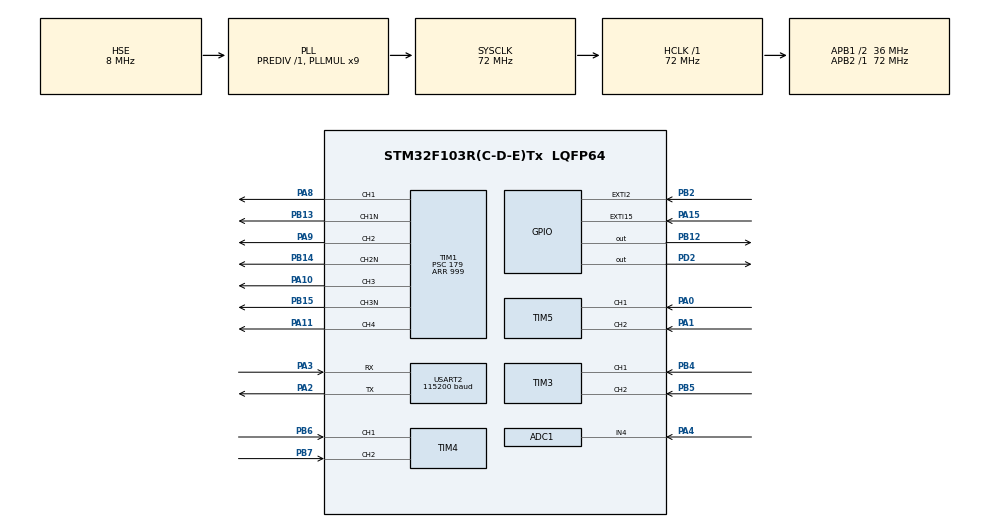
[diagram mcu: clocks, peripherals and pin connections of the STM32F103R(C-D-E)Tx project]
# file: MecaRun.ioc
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ADC1.Channel-0\#ChannelRegularConversion=ADC_CHANNEL_4
ADC1.ContinuousConvMode=DISABLE
ADC1.DataAlign=ADC_DATAALIGN_RIGHT
ADC1.DiscontinuousConvMode=DISABLE
ADC1.EnableAnalogWatchDog=false
ADC1.EnableRegularConversion=ENABLE
ADC1.ExternalTrigConv=ADC_SOFTWARE_START
ADC1.InjNumberOfConversion=0
ADC1.NbrOfConversion=1
ADC1.NbrOfConversionFlag=1
ADC1.Rank-0\#ChannelRegularConversion=1
ADC1.SamplingTime-0\#ChannelRegularConversion=ADC_SAMPLETIME_1CYCLE_5
ADC1.ScanConvMode=ADC_SCAN_DISABLE
ADC1.master=1
Mcu.Family=STM32F1
Mcu.Name=STM32F103R(C-D-E)Tx
Mcu.Package=LQFP64
NVIC.EXTI15_10_IRQn=true\:0\:0\:false\:true\:true\:2\:true
NVIC.EXTI2_IRQn=true\:0\:0\:false\:true\:true\:3\:true
NVIC.PriorityGroup=NVIC_PRIORITYGROUP_4
NVIC.USART2_IRQn=true\:1\:0\:true\:true\:true\:1\:true
PA0-WKUP.Signal=S_TIM5_CH1
PA1.Signal=S_TIM5_CH2
PA10.Signal=S_TIM1_CH3
PA11.Signal=S_TIM1_CH4
PA13.Mode=Serial_Wire
PA13.Signal=SYS_JTMS-SWDIO
PA14.Mode=Serial_Wire
PA14.Signal=SYS_JTCK-SWCLK
PA15.GPIO_ModeDefaultEXTI=GPIO_MODE_IT_RISING_FALLING
PA15.Signal=GPXTI15
PA2.Mode=Asynchronous
PA2.Signal=USART2_TX
PA3.Mode=Asynchronous
PA3.Signal=USART2_RX
PA4.Signal=ADCx_IN4
PA8.Signal=S_TIM1_CH1
PA9.Signal=S_TIM1_CH2
PB12.Signal=GPIO_Output
PB13.Mode=PWM Generation1 CH1 CH1N
PB13.Signal=TIM1_CH1N
PB14.Mode=PWM Generation2 CH2 CH2N
PB14.Signal=TIM1_CH2N
PB15.Mode=PWM Generation3 CH3 CH3N
PB15.Signal=TIM1_CH3N
PB2.GPIO_ModeDefaultEXTI=GPIO_MODE_IT_RISING_FALLING
PB2.Signal=GPXTI2
PB4.Signal=S_TIM3_CH1
PB5.Signal=S_TIM3_CH2
PB6.Signal=S_TIM4_CH1
PB7.Signal=S_TIM4_CH2
PC14-OSC32_IN.Mode=LSE-External-Oscillator
PC14-OSC32_IN.Signal=RCC_OSC32_IN
PC15-OSC32_OUT.Mode=LSE-External-Oscillator
PC15-OSC32_OUT.Signal=RCC_OSC32_OUT
PD0-OSC_IN.Mode=HSE-External-Oscillator
PD0-OSC_IN.Signal=RCC_OSC_IN
PD1-OSC_OUT.Mode=HSE-External-Oscillator
PD1-OSC_OUT.Signal=RCC_OSC_OUT
PD2.Signal=GPIO_Output
ProjectManager.HeapSize=0x200
ProjectManager.StackSize=0x400
ProjectManager.TargetToolchain=MDK-ARM V5
RCC.ADCPresc=RCC_ADCPCLK2_DIV6
RCC.AHBFreq_Value=72000000
RCC.APB1CLKDivider=RCC_HCLK_DIV2
RCC.APB1Freq_Value=36000000
RCC.APB1TimFreq_Value=72000000
RCC.APB2Freq_Value=72000000
RCC.APB2TimFreq_Value=72000000
RCC.HCLKFreq_Value=72000000
RCC.PLLMUL=RCC_PLL_MUL9
RCC.PLLSourceVirtual=RCC_PLLSOURCE_HSE
RCC.SYSCLKFreq_VALUE=72000000
RCC.SYSCLKSource=RCC_SYSCLKSOURCE_PLLCLK
RCC.USBFreq_Value=72000000
SH.ADCx_IN4.0=ADC1_IN4,IN4
SH.S_TIM1_CH1.0=TIM1_CH1,PWM Generation1 CH1 CH1N
SH.S_TIM1_CH2.0=TIM1_CH2,PWM Generation2 CH2 CH2N
SH.S_TIM1_CH3.0=TIM1_CH3,PWM Generation3 CH3 CH3N
SH.S_TIM1_CH4.0=TIM1_CH4,PWM Generation4 CH4
SH.S_TIM3_CH1.0=TIM3_CH1,Encoder_Interface
SH.S_TIM3_CH2.0=TIM3_CH2,Encoder_Interface
SH.S_TIM4_CH1.0=TIM4_CH1,Encoder_Interface
SH.S_TIM4_CH2.0=TIM4_CH2,Encoder_Interface
SH.S_TIM5_CH1.0=TIM5_CH1,Encoder_Interface
SH.S_TIM5_CH2.0=TIM5_CH2,Encoder_Interface
TIM1.Channel-PWM\ Generation1\ CH1\ CH1N=TIM_CHANNEL_1
TIM1.Channel-PWM\ Generation2\ CH2\ CH2N=TIM_CHANNEL_2
TIM1.Channel-PWM\ Generation3\ CH3\ CH3N=TIM_CHANNEL_3
TIM1.Channel-PWM\ Generation4\ CH4=TIM_CHANNEL_4
TIM1.OCIdleState_1=TIM_OCIDLESTATE_SET
TIM1.OCIdleState_2=TIM_OCIDLESTATE_SET
TIM1.OCIdleState_3=TIM_OCIDLESTATE_SET
TIM1.OCIdleState_4=TIM_OCIDLESTATE_SET
TIM1.OCNIdleState_1=TIM_OCNIDLESTATE_SET
TIM1.OCNIdleState_2=TIM_OCNIDLESTATE_SET
TIM1.OCNIdleState_3=TIM_OCNIDLESTATE_SET
TIM1.OCNPolarity_1=TIM_OCNPOLARITY_LOW
TIM1.OCNPolarity_2=TIM_OCNPOLARITY_LOW
TIM1.OCNPolarity_3=TIM_OCNPOLARITY_LOW
TIM1.Period=999
TIM1.Prescaler=179
USART2.BaudRate=115200
USART2.VirtualMode=VM_ASYNC
board=custom

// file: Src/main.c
/**
  ******************************************************************************
  * @file           : main.c
  * @brief          : Main program body
  ******************************************************************************
  ** This notice applies to any and all portions of this file
  * that are not between comment pairs USER CODE BEGIN and
  * USER CODE END. Other portions of this file, whether
  * inserted by the user or by software development tools
  * are owned by their respective copyright owners.
  *
  * COPYRIGHT(c) 2019 STMicroelectronics
  *
  * Redistribution and use in source and binary forms, with or without modification,
  * are permitted provided that the following conditions are met:
  *   1. Redistributions of source code must retain the above copyright notice,
  *      this list of conditions and the following disclaimer.
  *   2. Redistributions in binary form must reproduce the above copyright notice,
  *      this list of conditions and the following disclaimer in the documentation
  *      and/or other materials provided with the distribution.
  *   3. Neither the name of STMicroelectronics nor the names of its contributors
  *      may be used to endorse or promote products derived from this software
  *      without specific prior written permission.
  *
  * THIS SOFTWARE IS PROVIDED BY THE COPYRIGHT HOLDERS AND CONTRIBUTORS "AS IS"
  * AND ANY EXPRESS OR IMPLIED WARRANTIES, INCLUDING, BUT NOT LIMITED TO, THE
  * IMPLIED WARRANTIES OF MERCHANTABILITY AND FITNESS FOR A PARTICULAR PURPOSE ARE
  * DISCLAIMED. IN NO EVENT SHALL THE COPYRIGHT HOLDER OR CONTRIBUTORS BE LIABLE
  * FOR ANY DIRECT, INDIRECT, INCIDENTAL, SPECIAL, EXEMPLARY, OR CONSEQUENTIAL
  * DAMAGES (INCLUDING, BUT NOT LIMITED TO, PROCUREMENT OF SUBSTITUTE GOODS OR
  * SERVICES; LOSS OF USE, DATA, OR PROFITS; OR BUSINESS INTERRUPTION) HOWEVER
  * CAUSED AND ON ANY THEORY OF LIABILITY, WHETHER IN CONTRACT, STRICT LIABILITY,
  * OR TORT (INCLUDING NEGLIGENCE OR OTHERWISE) ARISING IN ANY WAY OUT OF THE USE
  * OF THIS SOFTWARE, EVEN IF ADVISED OF THE POSSIBILITY OF SUCH DAMAGE.
  *
  ******************************************************************************
  */
#include "main.h"
#include "stm32f1xx_hal.h"

/* USER CODE BEGIN Includes */

#include "Scheduler.h"
#include "motor.h"

/* USER CODE END Includes */

ADC_HandleTypeDef hadc1;

TIM_HandleTypeDef htim3;
TIM_HandleTypeDef htim4;
TIM_HandleTypeDef htim5;

UART_HandleTypeDef huart2;

/* USER CODE BEGIN PV */
/* Private variables ---------------------------------------------------------*/

uint8_t data_receive = 0;

/* USER CODE END PV */

void SystemClock_Config(void);
static void MX_GPIO_Init(void);
static void MX_TIM4_Init(void);
static void MX_TIM3_Init(void);
static void MX_TIM5_Init(void);
static void MX_USART2_UART_Init(void);
static void MX_TIM1_Init(void);
static void MX_ADC1_Init(void);
static void MX_NVIC_Init(void);

/* USER CODE BEGIN PFP */
/* Private function prototypes -----------------------------------------------*/

/* USER CODE END PFP */

/* USER CODE BEGIN 0 */
#ifdef __GNUC__
	#define PUTCHAR_PROTOTYPE int __io_putchar(int ch)
#else
	#define PUTCHAR_PROTOTYPE int fputc(int ch, FILE *f)
#endif /* __GNUC__ */

	PUTCHAR_PROTOTYPE
	{
		HAL_UART_Transmit(&huart2, (uint8_t *)&ch, 1, 0xFFFF);
		return ch;
	}
/* USER CODE END 0 */

int main(void)
{

  /* MCU Configuration----------------------------------------------------------*/

  /* Reset of all peripherals, Initializes the Flash interface and the Systick. */
  HAL_Init();

  /* Configure the system clock */
  SystemClock_Config();

  /* Initialize all configured peripherals */
  MX_GPIO_Init();
  MX_TIM4_Init();
  MX_TIM3_Init();
  MX_TIM5_Init();
  MX_USART2_UART_Init();
  MX_TIM1_Init();
  MX_ADC1_Init();

  /* Initialize interrupts */
  MX_NVIC_Init();
  /* USER CODE BEGIN 2 */

	LL_TIM_EnableAllOutputs(DRVTIM);
	LL_TIM_EnableCounter(DRVTIM);
	LL_TIM_CC_EnableChannel(DRVTIM, LL_TIM_CHANNEL_CH1);
	LL_TIM_CC_EnableChannel(DRVTIM, LL_TIM_CHANNEL_CH2);
	LL_TIM_CC_EnableChannel(DRVTIM, LL_TIM_CHANNEL_CH3);
	LL_TIM_CC_EnableChannel(DRVTIM, LL_TIM_CHANNEL_CH4);
	LL_TIM_CC_EnableChannel(DRVTIM, LL_TIM_CHANNEL_CH1N);
	LL_TIM_CC_EnableChannel(DRVTIM, LL_TIM_CHANNEL_CH2N);
	LL_TIM_CC_EnableChannel(DRVTIM, LL_TIM_CHANNEL_CH3N);

	LL_TIM_OC_SetPolarity(DRVTIM, LL_TIM_CHANNEL_CH1,LL_TIM_OCPOLARITY_HIGH);
	LL_TIM_OC_SetPolarity(DRVTIM, LL_TIM_CHANNEL_CH2,LL_TIM_OCPOLARITY_HIGH);
	LL_TIM_OC_SetPolarity(DRVTIM, LL_TIM_CHANNEL_CH3,LL_TIM_OCPOLARITY_HIGH);
	LL_TIM_OC_SetPolarity(DRVTIM, LL_TIM_CHANNEL_CH4,LL_TIM_OCPOLARITY_HIGH);
	LL_TIM_OC_SetPolarity(DRVTIM, LL_TIM_CHANNEL_CH1N,LL_TIM_OCPOLARITY_LOW);
	LL_TIM_OC_SetPolarity(DRVTIM, LL_TIM_CHANNEL_CH2N,LL_TIM_OCPOLARITY_LOW);
	LL_TIM_OC_SetPolarity(DRVTIM, LL_TIM_CHANNEL_CH3N,LL_TIM_OCPOLARITY_LOW);

	LL_GPIO_ResetOutputPin(MT_P_BANK, MT_1P_PIN);
	LL_GPIO_ResetOutputPin(MT_P_BANK, MT_2P_PIN);
	LL_GPIO_ResetOutputPin(MT_P_BANK, MT_3P_PIN);
	LL_GPIO_ResetOutputPin(MT_P_BANK, MT_4P_PIN);

	LL_GPIO_ResetOutputPin(MT_N_BANK, MT_1N_PIN);
	LL_GPIO_ResetOutputPin(MT_N_BANK, MT_2N_PIN);
	LL_GPIO_ResetOutputPin(MT_N_BANK, MT_3N_PIN);
	LL_GPIO_ResetOutputPin(MT_N_BANK, MT_4N_PIN);

	LL_GPIO_SetPinMode(MT_P_BANK, MT_1P_PIN, LL_GPIO_MODE_OUTPUT);
	LL_GPIO_SetPinMode(MT_P_BANK, MT_2P_PIN, LL_GPIO_MODE_OUTPUT);
	LL_GPIO_SetPinMode(MT_P_BANK, MT_3P_PIN, LL_GPIO_MODE_OUTPUT);
	LL_GPIO_SetPinMode(MT_P_BANK, MT_4P_PIN, LL_GPIO_MODE_ALTERNATE);

	LL_GPIO_SetPinMode(MT_N_BANK, MT_1N_PIN, LL_GPIO_MODE_OUTPUT);
	LL_GPIO_SetPinMode(MT_N_BANK, MT_2N_PIN, LL_GPIO_MODE_OUTPUT);
	LL_GPIO_SetPinMode(MT_N_BANK, MT_3N_PIN, LL_GPIO_MODE_OUTPUT);
	LL_GPIO_SetPinMode(MT_N_BANK, MT_4N_PIN, LL_GPIO_MODE_OUTPUT);

	HAL_TIM_Base_Start(&htim3);
	HAL_TIM_Base_Start(&htim4);
	HAL_TIM_Base_Start(&htim5);
	HAL_TIM_Encoder_Start(&htim3, TIM_CHANNEL_ALL);
	HAL_TIM_Encoder_Start(&htim4, TIM_CHANNEL_ALL);
	HAL_TIM_Encoder_Start(&htim5, TIM_CHANNEL_ALL);

	PID_Init();

//	float speed[4] = {30, 30, 30, 30};
//	Set_Speed(speed);

	HAL_UART_Receive_IT(&huart2,&data_receive,1);

//	control.x = 0.5;
  /* USER CODE END 2 */

  /* Infinite loop */
  /* USER CODE BEGIN WHILE */
  while (1)
  {

		Main_Task();
  /* USER CODE END WHILE */

  }

}

void SystemClock_Config(void)
{

  RCC_OscInitTypeDef RCC_OscInitStruct;
  RCC_ClkInitTypeDef RCC_ClkInitStruct;
  RCC_PeriphCLKInitTypeDef PeriphClkInit;

    /**Initializes the CPU, AHB and APB busses clocks
    */
  RCC_OscInitStruct.OscillatorType = RCC_OSCILLATORTYPE_HSE;
  RCC_OscInitStruct.HSEState = RCC_HSE_ON;
  RCC_OscInitStruct.HSEPredivValue = RCC_HSE_PREDIV_DIV1;
  RCC_OscInitStruct.HSIState = RCC_HSI_ON;
  RCC_OscInitStruct.PLL.PLLState = RCC_PLL_ON;
  RCC_OscInitStruct.PLL.PLLSource = RCC_PLLSOURCE_HSE;
  RCC_OscInitStruct.PLL.PLLMUL = RCC_PLL_MUL9;
  if (HAL_RCC_OscConfig(&RCC_OscInitStruct) != HAL_OK)
  {
    _Error_Handler(__FILE__, __LINE__);
  }

    /**Initializes the CPU, AHB and APB busses clocks
    */
  RCC_ClkInitStruct.ClockType = RCC_CLOCKTYPE_HCLK|RCC_CLOCKTYPE_SYSCLK
                              |RCC_CLOCKTYPE_PCLK1|RCC_CLOCKTYPE_PCLK2;
  RCC_ClkInitStruct.SYSCLKSource = RCC_SYSCLKSOURCE_PLLCLK;
  RCC_ClkInitStruct.AHBCLKDivider = RCC_SYSCLK_DIV1;
  RCC_ClkInitStruct.APB1CLKDivider = RCC_HCLK_DIV2;
  RCC_ClkInitStruct.APB2CLKDivider = RCC_HCLK_DIV1;

  if (HAL_RCC_ClockConfig(&RCC_ClkInitStruct, FLASH_LATENCY_2) != HAL_OK)
  {
    _Error_Handler(__FILE__, __LINE__);
  }

  PeriphClkInit.PeriphClockSelection = RCC_PERIPHCLK_ADC;
  PeriphClkInit.AdcClockSelection = RCC_ADCPCLK2_DIV6;
  if (HAL_RCCEx_PeriphCLKConfig(&PeriphClkInit) != HAL_OK)
  {
    _Error_Handler(__FILE__, __LINE__);
  }

    /**Configure the Systick interrupt time
    */
  HAL_SYSTICK_Config(HAL_RCC_GetHCLKFreq()/1000);

    /**Configure the Systick
    */
  HAL_SYSTICK_CLKSourceConfig(SYSTICK_CLKSOURCE_HCLK);

  /* SysTick_IRQn interrupt configuration */
  HAL_NVIC_SetPriority(SysTick_IRQn, 0, 0);
}

/**
  * @brief NVIC Configuration.
  * @retval None
  */
static void MX_NVIC_Init(void)
{
  /* USART2_IRQn interrupt configuration */
  HAL_NVIC_SetPriority(USART2_IRQn, 1, 0);
  HAL_NVIC_EnableIRQ(USART2_IRQn);
  /* EXTI15_10_IRQn interrupt configuration */
  HAL_NVIC_SetPriority(EXTI15_10_IRQn, 0, 0);
  HAL_NVIC_EnableIRQ(EXTI15_10_IRQn);
  /* EXTI2_IRQn interrupt configuration */
  HAL_NVIC_SetPriority(EXTI2_IRQn, 0, 0);
  HAL_NVIC_EnableIRQ(EXTI2_IRQn);
}

/* ADC1 init function */
static void MX_ADC1_Init(void)
{

  ADC_ChannelConfTypeDef sConfig;

    /**Common config
    */
  hadc1.Instance = ADC1;
  hadc1.Init.ScanConvMode = ADC_SCAN_DISABLE;
  hadc1.Init.ContinuousConvMode = DISABLE;
  hadc1.Init.DiscontinuousConvMode = DISABLE;
  hadc1.Init.ExternalTrigConv = ADC_SOFTWARE_START;
  hadc1.Init.DataAlign = ADC_DATAALIGN_RIGHT;
  hadc1.Init.NbrOfConversion = 1;
  if (HAL_ADC_Init(&hadc1) != HAL_OK)
  {
    _Error_Handler(__FILE__, __LINE__);
  }

    /**Configure Regular Channel
    */
  sConfig.Channel = ADC_CHANNEL_4;
  sConfig.Rank = ADC_REGULAR_RANK_1;
  sConfig.SamplingTime = ADC_SAMPLETIME_1CYCLE_5;
  if (HAL_ADC_ConfigChannel(&hadc1, &sConfig) != HAL_OK)
  {
    _Error_Handler(__FILE__, __LINE__);
  }

}

/* TIM1 init function */
static void MX_TIM1_Init(void)
{

  LL_TIM_InitTypeDef TIM_InitStruct;
  LL_TIM_OC_InitTypeDef TIM_OC_InitStruct;
  LL_TIM_BDTR_InitTypeDef TIM_BDTRInitStruct;

  LL_GPIO_InitTypeDef GPIO_InitStruct;

  /* Peripheral clock enable */
  LL_APB2_GRP1_EnableClock(LL_APB2_GRP1_PERIPH_TIM1);

  TIM_InitStruct.Prescaler = 179;
  TIM_InitStruct.CounterMode = LL_TIM_COUNTERMODE_UP;
  TIM_InitStruct.Autoreload = 999;
  TIM_InitStruct.ClockDivision = LL_TIM_CLOCKDIVISION_DIV1;
  TIM_InitStruct.RepetitionCounter = 0;
  LL_TIM_Init(TIM1, &TIM_InitStruct);

  LL_TIM_DisableARRPreload(TIM1);

  LL_TIM_OC_EnablePreload(TIM1, LL_TIM_CHANNEL_CH1);

  TIM_OC_InitStruct.OCMode = LL_TIM_OCMODE_PWM1;
  TIM_OC_InitStruct.OCState = LL_TIM_OCSTATE_DISABLE;
  TIM_OC_InitStruct.OCNState = LL_TIM_OCSTATE_DISABLE;
  TIM_OC_InitStruct.CompareValue = 0;
  TIM_OC_InitStruct.OCPolarity = LL_TIM_OCPOLARITY_HIGH;
  TIM_OC_InitStruct.OCNPolarity = LL_TIM_OCPOLARITY_LOW;
  TIM_OC_InitStruct.OCIdleState = LL_TIM_OCIDLESTATE_HIGH;
  TIM_OC_InitStruct.OCNIdleState = LL_TIM_OCIDLESTATE_HIGH;
  LL_TIM_OC_Init(TIM1, LL_TIM_CHANNEL_CH1, &TIM_OC_InitStruct);

  LL_TIM_OC_DisableFast(TIM1, LL_TIM_CHANNEL_CH1);

  LL_TIM_OC_EnablePreload(TIM1, LL_TIM_CHANNEL_CH2);

  TIM_OC_InitStruct.OCState = LL_TIM_OCSTATE_DISABLE;
  TIM_OC_InitStruct.OCNState = LL_TIM_OCSTATE_DISABLE;
  LL_TIM_OC_Init(TIM1, LL_TIM_CHANNEL_CH2, &TIM_OC_InitStruct);

  LL_TIM_OC_DisableFast(TIM1, LL_TIM_CHANNEL_CH2);

  LL_TIM_OC_EnablePreload(TIM1, LL_TIM_CHANNEL_CH3);

  TIM_OC_InitStruct.OCState = LL_TIM_OCSTATE_DISABLE;
  TIM_OC_InitStruct.OCNState = LL_TIM_OCSTATE_DISABLE;
  LL_TIM_OC_Init(TIM1, LL_TIM_CHANNEL_CH3, &TIM_OC_InitStruct);

  LL_TIM_OC_DisableFast(TIM1, LL_TIM_CHANNEL_CH3);

  LL_TIM_OC_EnablePreload(TIM1, LL_TIM_CHANNEL_CH4);

  TIM_OC_InitStruct.OCState = LL_TIM_OCSTATE_DISABLE;
  TIM_OC_InitStruct.OCNState = LL_TIM_OCSTATE_DISABLE;
  TIM_OC_InitStruct.OCNIdleState = LL_TIM_OCIDLESTATE_LOW;
  LL_TIM_OC_Init(TIM1, LL_TIM_CHANNEL_CH4, &TIM_OC_InitStruct);

  LL_TIM_OC_DisableFast(TIM1, LL_TIM_CHANNEL_CH4);

  LL_TIM_SetTriggerOutput(TIM1, LL_TIM_TRGO_RESET);

  LL_TIM_DisableMasterSlaveMode(TIM1);

  TIM_BDTRInitStruct.OSSRState = LL_TIM_OSSR_DISABLE;
  TIM_BDTRInitStruct.OSSIState = LL_TIM_OSSI_DISABLE;
  TIM_BDTRInitStruct.LockLevel = LL_TIM_LOCKLEVEL_OFF;
  TIM_BDTRInitStruct.DeadTime = 0;
  TIM_BDTRInitStruct.BreakState = LL_TIM_BREAK_DISABLE;
  TIM_BDTRInitStruct.BreakPolarity = LL_TIM_BREAK_POLARITY_HIGH;
  TIM_BDTRInitStruct.AutomaticOutput = LL_TIM_AUTOMATICOUTPUT_DISABLE;
  LL_TIM_BDTR_Init(TIM1, &TIM_BDTRInitStruct);

  /**TIM1 GPIO Configuration
  PB13   ------> TIM1_CH1N
  PB14   ------> TIM1_CH2N
  PB15   ------> TIM1_CH3N
  PA8   ------> TIM1_CH1
  PA9   ------> TIM1_CH2
  PA10   ------> TIM1_CH3
  PA11   ------> TIM1_CH4
  */
  GPIO_InitStruct.Pin = LL_GPIO_PIN_13|LL_GPIO_PIN_14|LL_GPIO_PIN_15;
  GPIO_InitStruct.Mode = LL_GPIO_MODE_ALTERNATE;
  GPIO_InitStruct.Speed = LL_GPIO_SPEED_FREQ_LOW;
  GPIO_InitStruct.OutputType = LL_GPIO_OUTPUT_PUSHPULL;
  LL_GPIO_Init(GPIOB, &GPIO_InitStruct);

  GPIO_InitStruct.Pin = LL_GPIO_PIN_8|LL_GPIO_PIN_9|LL_GPIO_PIN_10|LL_GPIO_PIN_11;
  GPIO_InitStruct.Mode = LL_GPIO_MODE_ALTERNATE;
  GPIO_InitStruct.Speed = LL_GPIO_SPEED_FREQ_LOW;
  GPIO_InitStruct.OutputType = LL_GPIO_OUTPUT_PUSHPULL;
  LL_GPIO_Init(GPIOA, &GPIO_InitStruct);

}

/* TIM3 init function */
static void MX_TIM3_Init(void)
{

  TIM_Encoder_InitTypeDef sConfig;
  TIM_MasterConfigTypeDef sMasterConfig;

  htim3.Instance = TIM3;
  htim3.Init.Prescaler = 0;
  htim3.Init.CounterMode = TIM_COUNTERMODE_UP;
  htim3.Init.Period = 0xFFFF;
  htim3.Init.ClockDivision = TIM_CLOCKDIVISION_DIV1;
  htim3.Init.AutoReloadPreload = TIM_AUTORELOAD_PRELOAD_DISABLE;
  sConfig.EncoderMode = TIM_ENCODERMODE_TI1;
  sConfig.IC1Polarity = TIM_ICPOLARITY_RISING;
  sConfig.IC1Selection = TIM_ICSELECTION_DIRECTTI;
  sConfig.IC1Prescaler = TIM_ICPSC_DIV1;
  sConfig.IC1Filter = 0;
  sConfig.IC2Polarity = TIM_ICPOLARITY_RISING;
  sConfig.IC2Selection = TIM_ICSELECTION_DIRECTTI;
  sConfig.IC2Prescaler = TIM_ICPSC_DIV1;
  sConfig.IC2Filter = 0;
  if (HAL_TIM_Encoder_Init(&htim3, &sConfig) != HAL_OK)
  {
    _Error_Handler(__FILE__, __LINE__);
  }

  sMasterConfig.MasterOutputTrigger = TIM_TRGO_RESET;
  sMasterConfig.MasterSlaveMode = TIM_MASTERSLAVEMODE_DISABLE;
  if (HAL_TIMEx_MasterConfigSynchronization(&htim3, &sMasterConfig) != HAL_OK)
  {
    _Error_Handler(__FILE__, __LINE__);
  }

}

/* TIM4 init function */
static void MX_TIM4_Init(void)
{

  TIM_Encoder_InitTypeDef sConfig;
  TIM_MasterConfigTypeDef sMasterConfig;

  htim4.Instance = TIM4;
  htim4.Init.Prescaler = 0;
  htim4.Init.CounterMode = TIM_COUNTERMODE_UP;
  htim4.Init.Period = 0xFFFF;
  htim4.Init.ClockDivision = TIM_CLOCKDIVISION_DIV1;
  htim4.Init.AutoReloadPreload = TIM_AUTORELOAD_PRELOAD_DISABLE;
  sConfig.EncoderMode = TIM_ENCODERMODE_TI1;
  sConfig.IC1Polarity = TIM_ICPOLARITY_RISING;
  sConfig.IC1Selection = TIM_ICSELECTION_DIRECTTI;
  sConfig.IC1Prescaler = TIM_ICPSC_DIV1;
  sConfig.IC1Filter = 0;
  sConfig.IC2Polarity = TIM_ICPOLARITY_RISING;
  sConfig.IC2Selection = TIM_ICSELECTION_DIRECTTI;
  sConfig.IC2Prescaler = TIM_ICPSC_DIV1;
  sConfig.IC2Filter = 0;
  if (HAL_TIM_Encoder_Init(&htim4, &sConfig) != HAL_OK)
  {
    _Error_Handler(__FILE__, __LINE__);
  }

  sMasterConfig.MasterOutputTrigger = TIM_TRGO_RESET;
  sMasterConfig.MasterSlaveMode = TIM_MASTERSLAVEMODE_DISABLE;
  if (HAL_TIMEx_MasterConfigSynchronization(&htim4, &sMasterConfig) != HAL_OK)
  {
    _Error_Handler(__FILE__, __LINE__);
  }

}

/* TIM5 init function */
static void MX_TIM5_Init(void)
{

  TIM_Encoder_InitTypeDef sConfig;
  TIM_MasterConfigTypeDef sMasterConfig;

  htim5.Instance = TIM5;
  htim5.Init.Prescaler = 0;
  htim5.Init.CounterMode = TIM_COUNTERMODE_UP;
  htim5.Init.Period = 0xFFFF;
  htim5.Init.ClockDivision = TIM_CLOCKDIVISION_DIV1;
  htim5.Init.AutoReloadPreload = TIM_AUTORELOAD_PRELOAD_DISABLE;
  sConfig.EncoderMode = TIM_ENCODERMODE_TI1;
  sConfig.IC1Polarity = TIM_ICPOLARITY_RISING;
  sConfig.IC1Selection = TIM_ICSELECTION_DIRECTTI;
  sConfig.IC1Prescaler = TIM_ICPSC_DIV1;
  sConfig.IC1Filter = 0;
  sConfig.IC2Polarity = TIM_ICPOLARITY_RISING;
  sConfig.IC2Selection = TIM_ICSELECTION_DIRECTTI;
  sConfig.IC2Prescaler = TIM_ICPSC_DIV1;
  sConfig.IC2Filter = 0;
  if (HAL_TIM_Encoder_Init(&htim5, &sConfig) != HAL_OK)
  {
    _Error_Handler(__FILE__, __LINE__);
  }

  sMasterConfig.MasterOutputTrigger = TIM_TRGO_RESET;
  sMasterConfig.MasterSlaveMode = TIM_MASTERSLAVEMODE_DISABLE;
  if (HAL_TIMEx_MasterConfigSynchronization(&htim5, &sMasterConfig) != HAL_OK)
  {
    _Error_Handler(__FILE__, __LINE__);
  }

}

/* USART2 init function */
static void MX_USART2_UART_Init(void)
{

  huart2.Instance = USART2;
  huart2.Init.BaudRate = 115200;
  huart2.Init.WordLength = UART_WORDLENGTH_8B;
  huart2.Init.StopBits = UART_STOPBITS_1;
  huart2.Init.Parity = UART_PARITY_NONE;
  huart2.Init.Mode = UART_MODE_TX_RX;
  huart2.Init.HwFlowCtl = UART_HWCONTROL_NONE;
  huart2.Init.OverSampling = UART_OVERSAMPLING_16;
  if (HAL_UART_Init(&huart2) != HAL_OK)
  {
    _Error_Handler(__FILE__, __LINE__);
  }

}

/** Configure pins as
        * Analog
        * Input
        * Output
        * EVENT_OUT
        * EXTI
*/
static void MX_GPIO_Init(void)
{

  GPIO_InitTypeDef GPIO_InitStruct;

  /* GPIO Ports Clock Enable */
  __HAL_RCC_GPIOC_CLK_ENABLE();
  __HAL_RCC_GPIOD_CLK_ENABLE();
  __HAL_RCC_GPIOA_CLK_ENABLE();
  __HAL_RCC_GPIOB_CLK_ENABLE();

  /*Configure GPIO pin Output Level */
  HAL_GPIO_WritePin(GPIOB, GPIO_PIN_12, GPIO_PIN_RESET);

  /*Configure GPIO pin Output Level */
  HAL_GPIO_WritePin(GPIOD, GPIO_PIN_2, GPIO_PIN_RESET);

  /*Configure GPIO pin : PB2 */
  GPIO_InitStruct.Pin = GPIO_PIN_2;
  GPIO_InitStruct.Mode = GPIO_MODE_IT_RISING_FALLING;
  GPIO_InitStruct.Pull = GPIO_NOPULL;
  HAL_GPIO_Init(GPIOB, &GPIO_InitStruct);

  /*Configure GPIO pin : PB12 */
  GPIO_InitStruct.Pin = GPIO_PIN_12;
  GPIO_InitStruct.Mode = GPIO_MODE_OUTPUT_PP;
  GPIO_InitStruct.Pull = GPIO_NOPULL;
  GPIO_InitStruct.Speed = GPIO_SPEED_FREQ_LOW;
  HAL_GPIO_Init(GPIOB, &GPIO_InitStruct);

  /*Configure GPIO pin : PA15 */
  GPIO_InitStruct.Pin = GPIO_PIN_15;
  GPIO_InitStruct.Mode = GPIO_MODE_IT_RISING_FALLING;
  GPIO_InitStruct.Pull = GPIO_NOPULL;
  HAL_GPIO_Init(GPIOA, &GPIO_InitStruct);

  /*Configure GPIO pin : PD2 */
  GPIO_InitStruct.Pin = GPIO_PIN_2;
  GPIO_InitStruct.Mode = GPIO_MODE_OUTPUT_PP;
  GPIO_InitStruct.Pull = GPIO_NOPULL;
  GPIO_InitStruct.Speed = GPIO_SPEED_FREQ_LOW;
  HAL_GPIO_Init(GPIOD, &GPIO_InitStruct);

}

void _Error_Handler(char *file, int line)
{
  while(1)
  {
  }
}

/************************ (C) COPYRIGHT STMicroelectronics *****END OF FILE****/
